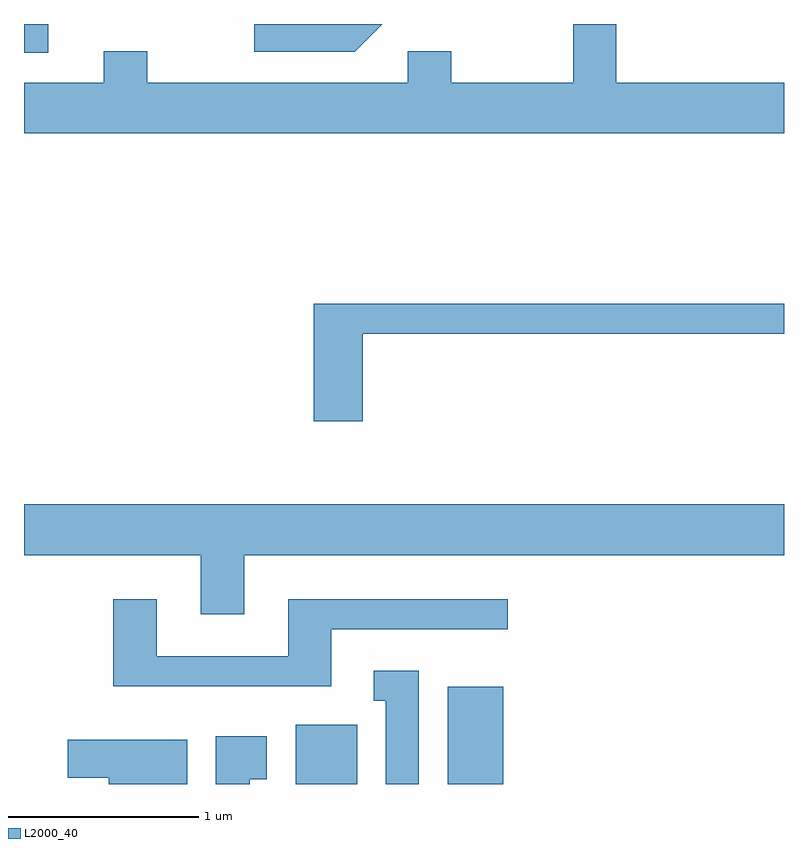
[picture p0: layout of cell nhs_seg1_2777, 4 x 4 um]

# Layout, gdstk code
import gdstk
lib = gdstk.Library(unit=1e-6, precision=1e-09)
def R(c, l, rs):  # rectangles x0, y0, x1, y1
    for r in rs: c.add(gdstk.rectangle(r[:2], r[2:], *l))
def P(c, l, *ps):  # polygons
    for p in ps: c.add(gdstk.Polygon(p, *l))
L2000_40 = (2000, 40)

nhs_seg1_2777 = lib.new_cell('nhs_seg1_2777')
R(nhs_seg1_2777, L2000_40, [(271.041,891.712,271.364,892.024), (271.841,891.712,272.134,892.224), (269.611,895.561,269.739,895.712)])
P(nhs_seg1_2777, L2000_40, [(273.611,895.404),(272.729,895.404),(272.729,895.712),(272.501,895.712),(272.501,895.404),(271.859,895.404),(271.859,895.569),(271.631,895.569),(271.631,895.404),(270.259,895.404),(270.259,895.569),(270.031,895.569),(270.031,895.404),(269.611,895.404),(269.611,895.136),(273.611,895.136)],
  [(271.497,895.712),(270.823,895.712),(270.823,895.566),(271.352,895.566)],
  [(271.394,894.081),(273.611,894.081),(273.611,894.239),(271.136,894.239),(271.136,893.621),(271.394,893.621)],
  [(270.769,892.916),(273.611,892.916),(273.611,893.184),(269.611,893.184),(269.611,892.916),(270.541,892.916),(270.541,892.606),(270.769,892.606)],
  [(271.229,892.526),(272.158,892.526),(272.158,892.684),(271.001,892.684),(271.001,892.384),(270.309,892.384),(270.309,892.684),(270.081,892.684),(270.081,892.226),(271.229,892.226)],
  [(271.689,892.309),(271.453,892.309),(271.453,892.151),(271.516,892.151),(271.516,891.712),(271.689,891.712)],
  [(270.799,891.736),(270.889,891.736),(270.889,891.964),(270.621,891.964),(270.621,891.712),(270.799,891.712)],
  [(270.469,891.944),(269.841,891.944),(269.841,891.746),(270.056,891.746),(270.056,891.712),(270.469,891.712)])

lib.write_gds('nhs_seg1_2777.gds')
